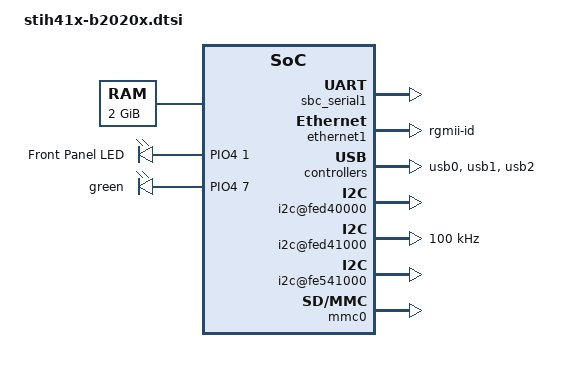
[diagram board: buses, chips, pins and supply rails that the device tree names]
/*
 * Copyright (C) 2013 STMicroelectronics (R&D) Limited.
 * Author: Patrice Chotard <patrice.chotard@st.com>
 *
 * This program is free software; you can redistribute it and/or modify
 * it under the terms of the GNU General Public License version 2 as
 * publishhed by the Free Software Foundation.
 */
/ {
	memory{
		device_type = "memory";
		reg = <0x40000000 0x80000000>;
	};

	chosen {
		bootargs = "console=ttyAS0,115200";
		linux,stdout-path = &sbc_serial1;
	};

	aliases {
		usb0 = &usb0;
		usb1 = &usb1;
		usb2 = &usb2;
	};

	soc {
		sbc_serial1: serial@fe531000 {
			status = "okay";
		};

		leds {
			compatible	= "gpio-leds";
			red {
				#gpio-cells = <1>;
				label	= "Front Panel LED";
				gpios	= <&PIO4 1 0>;
				linux,default-trigger	= "heartbeat";
			};
			green {
				gpios	= <&PIO4 7 0>;
				default-state = "off";
			};
		};

		ethernet1: dwmac@fef08000 {
			status 		= "okay";
			phy-mode	= "rgmii-id";
			snps,reset-active-low;
			snps,reset-delays-us 	= <0 10000 10000>;
			pinctrl-0	= <&pinctrl_rgmii1>;
		};

		usb0: usb@fe100000 {
			status = "okay";
		};

		usb1: usb@fe200000 {
			status = "okay";
		};

		usb2: usb@fe300000 {
			status = "okay";
		};

		i2c@fed40000 {
			status = "okay";
		};

		/* HDMI Tx I2C */
		i2c@fed41000 {
			/* HDMI V1.3a supports Standard mode only */
			clock-frequency = <100000>;
			st,i2c-min-scl-pulse-width-us = <0>;
			st,i2c-min-sda-pulse-width-us = <1>;

			status = "okay";
		};

		i2c@fe541000 {
			status = "okay";
		};

		mmc0: sdhci@fe81e000 {
			status = "okay";
		};

	};
};
